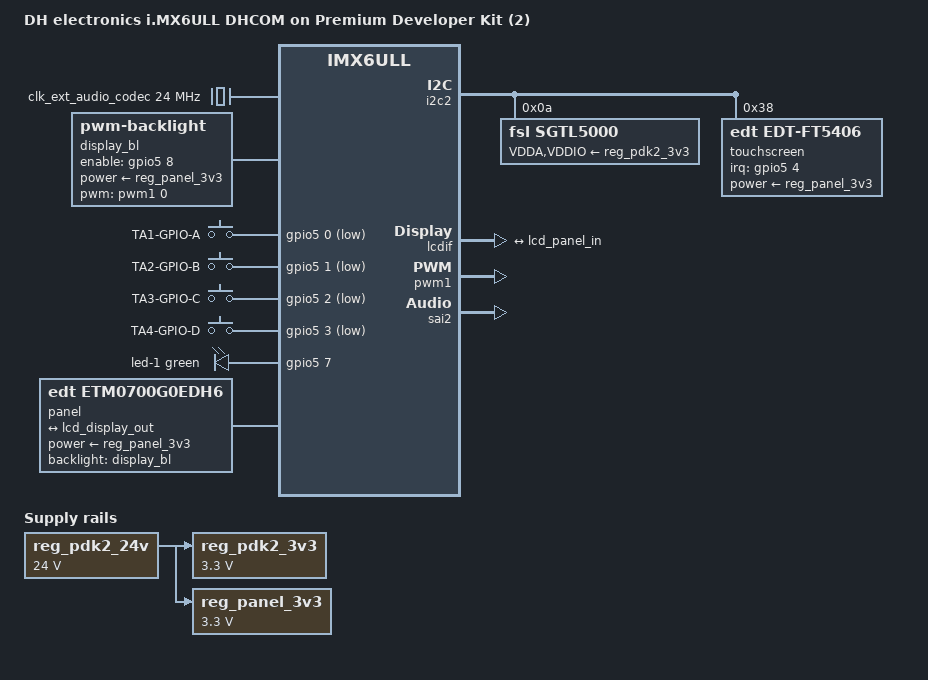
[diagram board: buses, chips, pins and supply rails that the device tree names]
// SPDX-License-Identifier: GPL-2.0+ OR BSD-3-Clause
/*
 * Copyright (C) 2023 DH electronics GmbH
 *
 * DHCOM iMX6ULL variant:
 * DHCM-iMX6ULL-C080-R051-F0409-SPI-E2-CAN2-RTC-WBT-ADC-I-01D2
 * DHCOR PCB number: 578-200 or newer
 * DHCOM PCB number: 579-200 or newer
 * PDK2 PCB number: 516-400 or newer
 */
/dts-v1/;

#include "imx6ull-dhcom-som.dtsi"

/ {
	model = "DH electronics i.MX6ULL DHCOM on Premium Developer Kit (2)";
	compatible = "dh,imx6ull-dhcom-pdk2", "dh,imx6ull-dhcom-som",
		     "dh,imx6ull-dhcor-som", "fsl,imx6ull";

	clk_ext_audio_codec: clock-codec {
		compatible = "fixed-clock";
		#clock-cells = <0>;
		clock-frequency = <24000000>;
	};

	display_bl: display-bl {
		compatible = "pwm-backlight";
		brightness-levels = <0 16 22 30 40 55 75 102 138 188 255>;
		default-brightness-level = <8>;
		enable-gpios = <&gpio5 8 GPIO_ACTIVE_HIGH>; /* GPIO G */
		power-supply = <&reg_panel_3v3>;
		pwms = <&pwm1 0 50000 PWM_POLARITY_INVERTED>;
	};

	gpio-keys {
		compatible = "gpio-keys";

		button-0 {
			gpios = <&gpio5 0 GPIO_ACTIVE_LOW>; /* GPIO A */
			label = "TA1-GPIO-A";
			linux,code = <KEY_A>;
			wakeup-source;
		};

		button-1 {
			gpios = <&gpio5 1 GPIO_ACTIVE_LOW>; /* GPIO B */
			label = "TA2-GPIO-B";
			linux,code = <KEY_B>;
			wakeup-source;
		};

		button-2 {
			gpios = <&gpio5 2 GPIO_ACTIVE_LOW>; /* GPIO C */
			label = "TA3-GPIO-C";
			linux,code = <KEY_C>;
			wakeup-source;
		};

		button-3 {
			gpios = <&gpio5 3 GPIO_ACTIVE_LOW>; /* GPIO D */
			label = "TA4-GPIO-D";
			linux,code = <KEY_D>;
			wakeup-source;
		};
	};

	led: led {
		compatible = "gpio-leds";

		/*
		 * Disable PDK2 LED5, because GPIO E is
		 * already used as touch interrupt.
		 */
		led-0 {
			color = <LED_COLOR_ID_GREEN>;
			default-state = "off";
			function = LED_FUNCTION_INDICATOR;
			function-enumerator = <5>; /* PDK2 LED5 */
			gpios = <&gpio5 4 GPIO_ACTIVE_HIGH>; /* GPIO E */
			status = "disabled";
		};

		led-1 {
			color = <LED_COLOR_ID_GREEN>;
			default-state = "off";
			function = LED_FUNCTION_INDICATOR;
			function-enumerator = <6>; /* PDK2 LED6 */
			gpios = <&gpio5 7 GPIO_ACTIVE_HIGH>; /* GPIO F */
		};

		/*
		 * Disable PDK2 LED7, because GPIO H is
		 * already used for WiFi pin WL_REG_ON.
		 */
		led-2 {
			color = <LED_COLOR_ID_GREEN>;
			default-state = "off";
			function = LED_FUNCTION_INDICATOR;
			function-enumerator = <7>; /* PDK2 LED7 */
			gpios = <&gpio5 9 GPIO_ACTIVE_HIGH>; /* GPIO H */
			status = "disabled";
		};

		/*
		 * Disable PDK2 LED8, because GPIO I is
		 * already used for BT pin BT_REG_ON.
		 */
		led-3 {
			color = <LED_COLOR_ID_GREEN>;
			default-state = "off";
			function = LED_FUNCTION_INDICATOR;
			function-enumerator = <8>; /* PDK2 LED8 */
			gpios = <&gpio1 18 GPIO_ACTIVE_HIGH>; /* GPIO I */
			status = "disabled";
		};
	};

	panel {
		compatible = "edt,etm0700g0edh6";
		backlight = <&display_bl>;
		power-supply = <&reg_panel_3v3>;

		port {
			lcd_panel_in: endpoint {
				remote-endpoint = <&lcd_display_out>;
			};
		};
	};

	/* Filtered supply voltage */
	reg_pdk2_24v: regulator-pdk2-24v {
		compatible = "regulator-fixed";
		regulator-always-on;
		regulator-max-microvolt = <24000000>;
		regulator-min-microvolt = <24000000>;
		regulator-name = "24V_PDK2";
	};

	/* PDK2 U35 */
	reg_pdk2_3v3: regulator-pdk2-3v3 {
		compatible = "regulator-fixed";
		regulator-always-on;
		regulator-min-microvolt = <3300000>;
		regulator-max-microvolt = <3300000>;
		regulator-name = "3V3_PDK2";
		vin-supply = <&reg_pdk2_24v>;
	};

	/* 560-200 U1 */
	reg_panel_3v3: regulator-panel-3v3 {
		compatible = "regulator-fixed";
		regulator-always-on;
		regulator-min-microvolt = <3300000>;
		regulator-max-microvolt = <3300000>;
		regulator-name = "3V3_PANEL";
		vin-supply = <&reg_pdk2_24v>;
	};

	sound {
		compatible = "simple-audio-card";
		simple-audio-card,bitclock-master = <&dailink_master>;
		simple-audio-card,format = "i2s";
		simple-audio-card,frame-master = <&dailink_master>;
		simple-audio-card,name = "sgtl5000";
		simple-audio-card,routing =
			"MIC_IN", "Mic Jack",
			"Mic Jack", "Mic Bias",
			"LINE_IN", "Line In Jack",
			"Headphone Jack", "HP_OUT";
		simple-audio-card,widgets =
			"Microphone", "Mic Jack",
			"Line", "Line In Jack",
			"Headphone", "Headphone Jack";

		simple-audio-card,cpu {
			sound-dai = <&sai2>;
		};

		dailink_master: simple-audio-card,codec {
			clocks = <&clk_ext_audio_codec>;
			sound-dai = <&sgtl5000>;
		};
	};
};

/* DHCOM I2C1 */
&i2c2 {
	sgtl5000: audio-codec@a {
		compatible = "fsl,sgtl5000";
		reg = <0x0a>;
		#sound-dai-cells = <0>;
		clocks = <&clk_ext_audio_codec>;
		VDDA-supply = <&reg_pdk2_3v3>;
		VDDIO-supply = <&reg_pdk2_3v3>;
	};

	touchscreen@38 {
		compatible = "edt,edt-ft5406";
		reg = <0x38>;
		interrupt-parent = <&gpio5>;
		interrupts = <4 IRQ_TYPE_EDGE_FALLING>; /* GPIO E */
		power-supply = <&reg_panel_3v3>;
	};
};

&lcdif {
	status = "okay";

	port {
		lcd_display_out: endpoint {
			remote-endpoint = <&lcd_panel_in>;
		};
	};
};

&pwm1 {
	status = "okay";
};

&sai2 {
	status = "okay";
};
